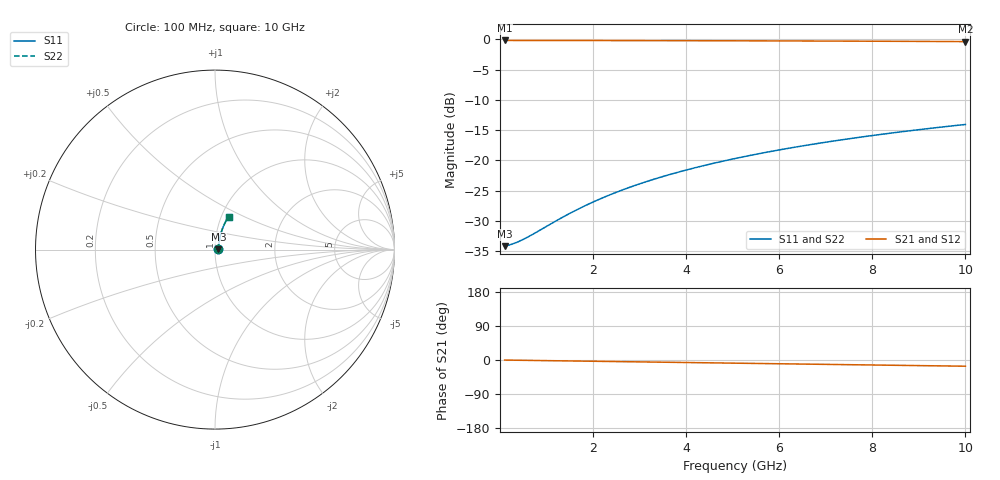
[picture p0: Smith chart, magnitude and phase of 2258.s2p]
# Hz S RI R 50.00
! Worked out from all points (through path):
!   100 points, 100 MHz to 10 GHz, reference 50 ohm
!   highest |S21| = -0.17 dB at 100 MHz (marker M1); lowest = -0.4 dB at 10 GHz (marker M2)
!   group delay of S21, straight-line fit = 4.56 ps
!   lowest |S11| = -34.2 dB at 100 MHz (marker M3), VSWR 1.04, Z = 52 + j0.205 ohm
!   |S11| at or under -10 dB: start of sweep to end of sweep
!   |S22| runs from -34.2 to -14.1 dB; largest |S21 - S12| = 0
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1e8  0.0194 0.00197  0.9806 -0.00284  0.9806 -0.00284  0.0194 0.00197
2e8  0.0196 0.00394  0.9804 -0.00568  0.9804 -0.00568  0.0196 0.00394
3e8  0.0197 0.00591  0.9803 -0.00852  0.9803 -0.00852  0.0197 0.00591
5e8  0.0199 0.00984  0.9801 -0.0142  0.9801 -0.0142  0.0199 0.00984
7e8  0.0202 0.0138  0.9798 -0.0199  0.9798 -0.0199  0.0202 0.0138
1.2e9  0.0209 0.0236  0.979 -0.034  0.979 -0.034  0.0209 0.0236
1.4e9  0.0213 0.0275  0.9787 -0.0397  0.9787 -0.0397  0.0213 0.0275
1.8e9  0.0221 0.0353  0.9778 -0.051  0.9778 -0.051  0.0221 0.0353
2.2e9  0.0231 0.0431  0.9767 -0.0623  0.9767 -0.0623  0.0231 0.0431
2.6e9  0.0243 0.0509  0.9754 -0.0735  0.9754 -0.0735  0.0243 0.0509
3e9  0.0256 0.0586  0.974 -0.0848  0.974 -0.0848  0.0256 0.0586
3.4e9  0.0271 0.0663  0.9724 -0.0959  0.9724 -0.0959  0.0271 0.0663
3.8e9  0.0288 0.0739  0.9706 -0.1071  0.9706 -0.1071  0.0288 0.0739
4.2e9  0.0307 0.0815  0.9686 -0.1181  0.9686 -0.1181  0.0307 0.0815
4.6e9  0.0327 0.089  0.9665 -0.1292  0.9665 -0.1292  0.0327 0.089
5.1e9  0.0355 0.0983  0.9635 -0.1429  0.9635 -0.1429  0.0355 0.0983
5.9e9  0.0404 0.1131  0.9582 -0.1646  0.9582 -0.1646  0.0404 0.1131
6.7e9  0.046 0.1275  0.9522 -0.186  0.9522 -0.186  0.046 0.1275
7.5e9  0.0523 0.1416  0.9455 -0.2071  0.9455 -0.2071  0.0523 0.1416
8.4e9  0.06 0.157  0.9372 -0.2304  0.9372 -0.2304  0.06 0.157
9.2e9  0.0675 0.1703  0.9292 -0.2508  0.9292 -0.2508  0.0675 0.1703
1e10  0.0755 0.1832  0.9206 -0.2707  0.9206 -0.2707  0.0755 0.1832
